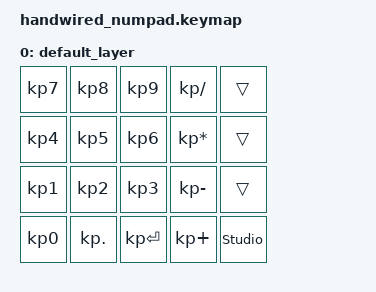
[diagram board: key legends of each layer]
/ {
    keymap {
        compatible = "zmk,keymap";

        // Optional: Studio entsperren
        default_layer {
            bindings = <
            // Row 0: 7 8 9  /
            &kp KP_7    &kp KP_8    &kp KP_9    &kp KP_SLASH   &trans
            // Row 1: 4 5 6  *
            &kp KP_4    &kp KP_5    &kp KP_6    &kp KP_ASTERISK &trans
            // Row 2: 1 2 3  -
            &kp KP_1    &kp KP_2    &kp KP_3    &kp KP_MINUS   &trans
            // Row 3: 0 . Enter +
            &kp KP_0    &kp KP_DOT  &kp KP_ENTER &kp KP_PLUS   &studio_unlock
            >;

            // Matrix: 4 Reihen × 5 Spalten = 20 Positionen
            // Falls du nur 4 Spalten hast, setze die 5. Spalte auf &trans.
        };
    };
};
